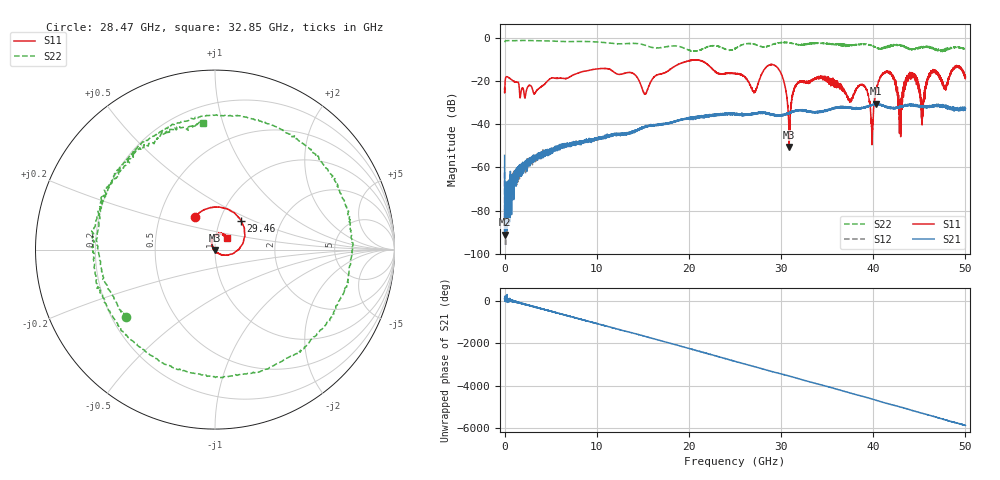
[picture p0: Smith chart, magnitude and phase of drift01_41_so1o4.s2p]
!Created with skrf (http://scikit-rf.org).
# Hz S RI R 50.0
!freq ReS11 ImS11 ReS21 ImS21 ReS12 ImS12 ReS22 ImS22
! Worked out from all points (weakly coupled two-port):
!   10001 points, 300 kHz to 50 GHz, reference 50 ohm
!   highest |S21| = -30.58 dB at 40.27 GHz (marker M1); lowest = -91.1 dB at 70.3 MHz (marker M2)
!   lowest |S11| = -50.7 dB at 30.89 GHz (marker M3), VSWR 1.01, Z = 49.8 - j0.241 ohm
!   |S11| at or under -10 dB: start of sweep to end of sweep
!   |S22| runs from -6.5 to -1.4 dB; largest |S21 - S12| = 0.0038
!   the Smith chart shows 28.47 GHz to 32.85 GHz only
!   S11 on the Smith chart (normalised r, x): 28.47 GHz: 0.75, +0.29; 29.46 GHz: 1.26, +0.43; 32.85 GHz: 1.13, +0.15
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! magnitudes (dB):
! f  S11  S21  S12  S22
! 300 kHz  -23.5  -54.5  -62.5  -2.1
! 70.3 MHz  -19.6  -91.1  -83.4  -1.5
! 8.335 GHz  -15.9  -48.0  -48.5  -1.8
! 15.23 GHz  -26.2  -41.4  -41.7  -3.6
! 16.67 GHz  -17.1  -40.3  -40.3  -4.8
! 25 GHz  -16.7  -35.2  -35.0  -5.1
! 27.11 GHz  -25.2  -35.1  -35.4  -3.1
! 28.47 GHz  -13.4  -35.0  -35.0  -4.1
! 29.46 GHz  -13.2  -35.7  -36.1  -2.6
! 30.89 GHz  -50.7  -34.9  -34.8  -2.5
! 31.61 GHz  -21.9  -34.0  -33.9  -3.1
! 32.85 GHz  -20.6  -34.1  -34.2  -3.0
! 33.34 GHz  -19.9  -34.6  -34.5  -2.7
! 38.92 GHz  -22.1  -32.5  -32.4  -3.0
! 39.84 GHz  -43.9  -31.2  -31.2  -3.7
! 40.27 GHz  -25.2  -30.6  -30.9  -4.6
! 41.67 GHz  -16.1  -32.4  -32.4  -4.3
! 42.91 GHz  -29.1  -31.8  -32.1  -3.4
! 44.05 GHz  -16.5  -31.2  -31.1  -5.3
! 45.31 GHz  -40.4  -31.8  -32.0  -4.4
! 46.42 GHz  -15.6  -31.8  -31.7  -4.8
! 50 GHz  -18.0  -32.8  -32.6  -5.4
